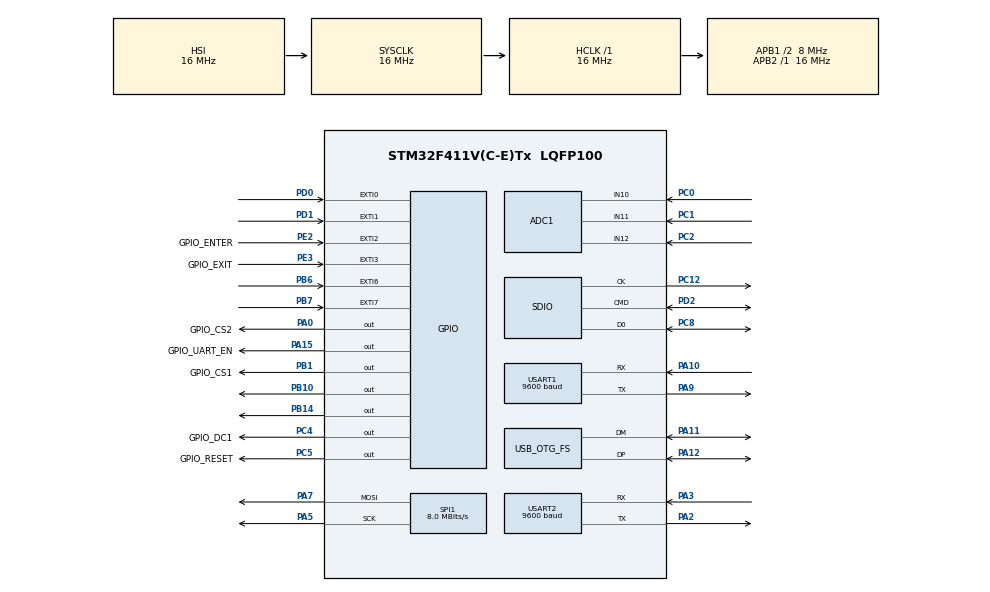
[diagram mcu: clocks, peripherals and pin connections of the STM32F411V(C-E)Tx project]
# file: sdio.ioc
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ADC1.Channel-1\#ChannelRegularConversion=ADC_CHANNEL_10
ADC1.Channel-2\#ChannelRegularConversion=ADC_CHANNEL_11
ADC1.Channel-3\#ChannelRegularConversion=ADC_CHANNEL_12
ADC1.DMAContinuousRequests=ENABLE
ADC1.ExternalTrigConv=ADC_EXTERNALTRIGCONV_T3_TRGO
ADC1.ExternalTrigConvEdge=ADC_EXTERNALTRIGCONVEDGE_FALLING
ADC1.NbrOfConversion=3
ADC1.NbrOfConversionFlag=1
ADC1.Rank-1\#ChannelRegularConversion=1
ADC1.Rank-2\#ChannelRegularConversion=2
ADC1.Rank-3\#ChannelRegularConversion=3
ADC1.SamplingTime-1\#ChannelRegularConversion=ADC_SAMPLETIME_15CYCLES
ADC1.SamplingTime-2\#ChannelRegularConversion=ADC_SAMPLETIME_15CYCLES
ADC1.SamplingTime-3\#ChannelRegularConversion=ADC_SAMPLETIME_15CYCLES
ADC1.ScanConvMode=ENABLE
ADC1.master=1
Dma.ADC1.0.Direction=DMA_PERIPH_TO_MEMORY
Dma.ADC1.0.FIFOMode=DMA_FIFOMODE_DISABLE
Dma.ADC1.0.Instance=DMA2_Stream0
Dma.ADC1.0.MemDataAlignment=DMA_MDATAALIGN_HALFWORD
Dma.ADC1.0.MemInc=DMA_MINC_ENABLE
Dma.ADC1.0.Mode=DMA_CIRCULAR
Dma.ADC1.0.PeriphDataAlignment=DMA_PDATAALIGN_HALFWORD
Dma.ADC1.0.PeriphInc=DMA_PINC_DISABLE
Dma.ADC1.0.Priority=DMA_PRIORITY_LOW
Dma.Request0=ADC1
Dma.Request1=USART2_RX
Dma.Request2=SPI1_TX
Dma.SPI1_TX.2.Direction=DMA_MEMORY_TO_PERIPH
Dma.SPI1_TX.2.FIFOMode=DMA_FIFOMODE_DISABLE
Dma.SPI1_TX.2.Instance=DMA2_Stream2
Dma.SPI1_TX.2.MemDataAlignment=DMA_MDATAALIGN_BYTE
Dma.SPI1_TX.2.MemInc=DMA_MINC_ENABLE
Dma.SPI1_TX.2.Mode=DMA_NORMAL
Dma.SPI1_TX.2.PeriphDataAlignment=DMA_PDATAALIGN_BYTE
Dma.SPI1_TX.2.PeriphInc=DMA_PINC_DISABLE
Dma.SPI1_TX.2.Priority=DMA_PRIORITY_LOW
Dma.USART2_RX.1.Direction=DMA_PERIPH_TO_MEMORY
Dma.USART2_RX.1.FIFOMode=DMA_FIFOMODE_DISABLE
Dma.USART2_RX.1.Instance=DMA1_Stream5
Dma.USART2_RX.1.MemDataAlignment=DMA_MDATAALIGN_BYTE
Dma.USART2_RX.1.MemInc=DMA_MINC_ENABLE
Dma.USART2_RX.1.Mode=DMA_NORMAL
Dma.USART2_RX.1.PeriphDataAlignment=DMA_PDATAALIGN_BYTE
Dma.USART2_RX.1.PeriphInc=DMA_PINC_DISABLE
Dma.USART2_RX.1.Priority=DMA_PRIORITY_LOW
FATFS._MAX_SS=4096
Mcu.Family=STM32F4
Mcu.Name=STM32F411V(C-E)Tx
Mcu.Package=LQFP100
NVIC.ADC_IRQn=true\:0\:0\:false\:false\:true\:true\:true\:true
NVIC.DMA1_Stream5_IRQn=true\:0\:0\:false\:false\:true\:false\:true\:true
NVIC.DMA2_Stream0_IRQn=true\:0\:0\:false\:false\:true\:false\:true\:true
NVIC.DMA2_Stream2_IRQn=true\:0\:0\:false\:false\:true\:false\:true\:true
NVIC.EXTI2_IRQn=true\:0\:0\:false\:false\:true\:true\:true\:true
NVIC.EXTI3_IRQn=true\:0\:0\:false\:false\:true\:true\:true\:true
NVIC.EXTI9_5_IRQn=true\:0\:0\:false\:false\:true\:true\:true\:true
NVIC.OTG_FS_IRQn=true\:0\:0\:false\:false\:true\:false\:true\:true
NVIC.PriorityGroup=NVIC_PRIORITYGROUP_4
NVIC.TIM1_TRG_COM_TIM11_IRQn=true\:0\:0\:false\:false\:true\:true\:true\:true
NVIC.TIM1_UP_TIM10_IRQn=true\:0\:0\:false\:false\:true\:true\:true\:true
NVIC.USART1_IRQn=true\:0\:0\:false\:false\:true\:true\:true\:true
NVIC.USART2_IRQn=true\:0\:0\:false\:false\:true\:true\:true\:true
PA0-WKUP.GPIO_Label=GPIO_CS2
PA0-WKUP.GPIO_PuPd=GPIO_PULLUP
PA0-WKUP.Signal=GPIO_Output
PA10.Mode=Asynchronous
PA10.Signal=USART1_RX
PA11.Mode=Device_Only
PA11.Signal=USB_OTG_FS_DM
PA12.Mode=Device_Only
PA12.Signal=USB_OTG_FS_DP
PA13.Mode=Serial_Wire
PA13.Signal=SYS_JTMS-SWDIO
PA14.Mode=Serial_Wire
PA14.Signal=SYS_JTCK-SWCLK
PA15.GPIO_Label=GPIO_UART_EN
PA15.Signal=GPIO_Output
PA2.Mode=Asynchronous
PA2.Signal=USART2_TX
PA3.Mode=Asynchronous
PA3.Signal=USART2_RX
PA5.Mode=TX_Only_Simplex_Unidirect_Master
PA5.Signal=SPI1_SCK
PA7.Mode=TX_Only_Simplex_Unidirect_Master
PA7.Signal=SPI1_MOSI
PA9.Mode=Asynchronous
PA9.Signal=USART1_TX
PB1.GPIO_Label=GPIO_CS1
PB1.Signal=GPIO_Output
PB10.GPIO_PuPd=GPIO_PULLUP
PB10.Signal=GPIO_Output
PB14.GPIO_PuPd=GPIO_PULLUP
PB14.Signal=GPIO_Output
PB6.GPIO_PuPd=GPIO_PULLUP
PB6.Signal=GPXTI6
PB7.GPIO_PuPd=GPIO_PULLUP
PB7.Signal=GPXTI7
PC0.Signal=ADCx_IN10
PC1.Signal=ADCx_IN11
PC12.GPIO_PuPd=GPIO_NOPULL
PC12.Mode=SD_1_bit
PC12.Signal=SDIO_CK
PC2.Signal=ADCx_IN12
PC4.GPIO_Label=GPIO_DC1
PC4.Signal=GPIO_Output
PC5.GPIO_Label=GPIO_RESET
PC5.Signal=GPIO_Output
PC8.GPIO_PuPd=GPIO_PULLUP
PC8.Mode=SD_1_bit
PC8.Signal=SDIO_D0
PD0.GPIO_ModeDefaultEXTI=GPIO_MODE_IT_RISING
PD0.Signal=GPXTI0
PD1.GPIO_ModeDefaultEXTI=GPIO_MODE_IT_RISING
PD1.Signal=GPXTI1
PD2.GPIO_PuPd=GPIO_PULLUP
PD2.Mode=SD_1_bit
PD2.Signal=SDIO_CMD
PE2.GPIO_Label=GPIO_ENTER
PE2.GPIO_ModeDefaultEXTI=GPIO_MODE_IT_FALLING
PE2.Signal=GPXTI2
PE3.GPIO_Label=GPIO_EXIT
PE3.GPIO_ModeDefaultEXTI=GPIO_MODE_IT_FALLING
PE3.Signal=GPXTI3
PH0\ -\ OSC_IN.Mode=HSE-External-Oscillator
PH0\ -\ OSC_IN.Signal=RCC_OSC_IN
PH1\ -\ OSC_OUT.Mode=HSE-External-Oscillator
PH1\ -\ OSC_OUT.Signal=RCC_OSC_OUT
ProjectManager.HeapSize=0x1000
ProjectManager.StackSize=0x1000
ProjectManager.TargetToolchain=MDK-ARM V5.32
RCC.48MHZClocksFreq_Value=48000000
RCC.AHBFreq_Value=16000000
RCC.APB1CLKDivider=RCC_HCLK_DIV2
RCC.APB1Freq_Value=8000000
RCC.APB1TimFreq_Value=16000000
RCC.APB2Freq_Value=16000000
RCC.APB2TimFreq_Value=16000000
RCC.CortexFreq_Value=16000000
RCC.HCLKFreq_Value=16000000
RCC.HSE_VALUE=8000000
RCC.HSI_VALUE=16000000
RCC.LSE_VALUE=32768
RCC.PLLM=4
RCC.PLLN=72
RCC.PLLQ=3
RCC.SYSCLKFreq_VALUE=16000000
RCC.VCOOutputFreq_Value=144000000
SDIO.ClockDiv=3
SH.ADCx_IN10.0=ADC1_IN10,IN10
SH.ADCx_IN11.0=ADC1_IN11,IN11
SH.ADCx_IN12.0=ADC1_IN12,IN12
SPI1.CalculateBaudRate=8.0 MBits/s
SPI1.Direction=SPI_DIRECTION_2LINES
SPI1.Mode=SPI_MODE_MASTER
SPI1.VirtualType=VM_MASTER
TIM10.Period=499
TIM10.Prescaler=15999
TIM11.Period=400
TIM11.Prescaler=15999
TIM3.Period=199
TIM3.Prescaler=15999
TIM3.TIM_MasterOutputTrigger=TIM_TRGO_UPDATE
USART1.BaudRate=9600
USART1.VirtualMode=VM_ASYNC
USART2.BaudRate=9600
USART2.VirtualMode=VM_ASYNC
USB_DEVICE.CLASS_NAME_FS=MSC
USB_DEVICE.VirtualMode=Msc
USB_DEVICE.VirtualModeFS=Msc_FS
USB_OTG_FS.VirtualMode=Device_Only
VP_CRC_VS_CRC.Mode=CRC_Activate
VP_FATFS_VS_SDIO.Mode=SDIO
VP_TIM10_VS_ClockSourceINT.Mode=Enable_Timer
VP_TIM11_VS_ClockSourceINT.Mode=Enable_Timer
VP_TIM3_VS_ClockSourceINT.Mode=Internal
VP_USB_DEVICE_VS_USB_DEVICE_MSC_FS.Mode=MSC_FS
board=custom

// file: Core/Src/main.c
/* USER CODE BEGIN Header */
/**
  ******************************************************************************
  * @file           : main.c
  * @brief          : Main program body
  ******************************************************************************
  * @attention
  *
  * Copyright (c) 2022 STMicroelectronics.
  * All rights reserved.
  *
  * This software is licensed under terms that can be found in the LICENSE file
  * in the root directory of this software component.
  * If no LICENSE file comes with this software, it is provided AS-IS.
  *
  ******************************************************************************
  */
/* USER CODE END Header */
#include "main.h"
#include "fatfs.h"
#include "usb_device.h"

/* USER CODE BEGIN Includes */
#include "string.h"
#include "diskio.h"
#include "new_display.h"
/* USER CODE END Includes */

/* USER CODE BEGIN PD */
#define BUFFER_SIZE 128
/* USER CODE END PD */

/* USER CODE BEGIN PM */
//extern volatile uint8_t flag_toggle;
/* USER CODE END PM */

 ADC_HandleTypeDef hadc1;
DMA_HandleTypeDef hdma_adc1;

CRC_HandleTypeDef hcrc;

SD_HandleTypeDef hsd;

SPI_HandleTypeDef hspi1;
DMA_HandleTypeDef hdma_spi1_tx;

TIM_HandleTypeDef htim3;
TIM_HandleTypeDef htim10;
TIM_HandleTypeDef htim11;

UART_HandleTypeDef huart1;
UART_HandleTypeDef huart2;
DMA_HandleTypeDef hdma_usart2_rx;

/* USER CODE BEGIN PV */
//HAL_SD_CardInfoTypeDef cardInfo;
//extern volatile uint8_t flag_press;
/* USER CODE END PV */

void SystemClock_Config(void);
static void MX_GPIO_Init(void);
static void MX_SDIO_SD_Init(void);
static void MX_DMA_Init(void);
static void MX_ADC1_Init(void);
static void MX_TIM3_Init(void);
static void MX_USART2_UART_Init(void);
static void MX_USART1_UART_Init(void);
static void MX_SPI1_Init(void);
static void MX_TIM10_Init(void);
static void MX_TIM11_Init(void);
static void MX_CRC_Init(void);
/* USER CODE BEGIN PFP */
FATFS fs;  // file system
FIL fil; // File
FILINFO fno;
FRESULT fresult;  // result
UINT br, bw;  // File read/write count
BYTE work[_MAX_SS];
/* USER CODE END PFP */

/* USER CODE BEGIN 0 */
FATFS *pfs;
DWORD fre_clust;
uint32_t capacity[2];
uint32_t gpio_pin;

volatile unsigned long  LastTime;
volatile uint16_t adc[3] = {0,};
volatile uint8_t flag_toggle = 0;
uint32_t res_addr = 0;
/* USER CODE END 0 */

int main(void)
{
  /* USER CODE BEGIN 1 */
  char buffer[128];
  /* USER CODE END 1 */

  /* MCU Configuration--------------------------------------------------------*/

  /* Reset of all peripherals, Initializes the Flash interface and the Systick. */
  HAL_Init();

  /* Configure the system clock */
  SystemClock_Config();

  /* Initialize all configured peripherals */
  MX_GPIO_Init();
  MX_SDIO_SD_Init();
  MX_DMA_Init();
  MX_USB_DEVICE_Init();
  MX_ADC1_Init();
  MX_TIM3_Init();
  MX_USART2_UART_Init();
  MX_FATFS_Init();
  MX_USART1_UART_Init();
  MX_SPI1_Init();
  MX_TIM10_Init();
  MX_TIM11_Init();
  MX_CRC_Init();
  /* USER CODE BEGIN 2 */
	ST7735_Init();
  ST7735_Backlight_On();

  HAL_GPIO_WritePin(GPIOB, GPIO_PIN_10, GPIO_PIN_RESET);
  HAL_GPIO_WritePin(GPIOB, GPIO_PIN_14, GPIO_PIN_RESET);
  HAL_GPIO_WritePin(GPIOA, GPIO_PIN_0,  GPIO_PIN_RESET);

//  fresult = f_mount(&fs, "", 1);
//	HAL_Delay(1);
//  if (fresult == FR_NO_FILESYSTEM) fresult = f_mkfs("", FM_ANY, 0, work, sizeof(work));
  /* USER CODE END 2 */

  /* Infinite loop */
  /* USER CODE BEGIN WHILE */
  while (1)
  {
		//MainMenu_Parent();
    /* USER CODE END WHILE */

  }
}

void SystemClock_Config(void)
{
  RCC_OscInitTypeDef RCC_OscInitStruct = {0};
  RCC_ClkInitTypeDef RCC_ClkInitStruct = {0};

  /** Configure the main internal regulator output voltage
  */
  __HAL_RCC_PWR_CLK_ENABLE();
  __HAL_PWR_VOLTAGESCALING_CONFIG(PWR_REGULATOR_VOLTAGE_SCALE1);

  /** Initializes the RCC Oscillators according to the specified parameters
  * in the RCC_OscInitTypeDef structure.
  */
  RCC_OscInitStruct.OscillatorType = RCC_OSCILLATORTYPE_HSI|RCC_OSCILLATORTYPE_HSE;
  RCC_OscInitStruct.HSEState = RCC_HSE_ON;
  RCC_OscInitStruct.HSIState = RCC_HSI_ON;
  RCC_OscInitStruct.HSICalibrationValue = RCC_HSICALIBRATION_DEFAULT;
  RCC_OscInitStruct.PLL.PLLState = RCC_PLL_ON;
  RCC_OscInitStruct.PLL.PLLSource = RCC_PLLSOURCE_HSE;
  RCC_OscInitStruct.PLL.PLLM = 4;
  RCC_OscInitStruct.PLL.PLLN = 72;
  RCC_OscInitStruct.PLL.PLLP = RCC_PLLP_DIV2;
  RCC_OscInitStruct.PLL.PLLQ = 3;
  if (HAL_RCC_OscConfig(&RCC_OscInitStruct) != HAL_OK)
  {
    Error_Handler();
  }

  /** Initializes the CPU, AHB and APB buses clocks
  */
  RCC_ClkInitStruct.ClockType = RCC_CLOCKTYPE_HCLK|RCC_CLOCKTYPE_SYSCLK
                              |RCC_CLOCKTYPE_PCLK1|RCC_CLOCKTYPE_PCLK2;
  RCC_ClkInitStruct.SYSCLKSource = RCC_SYSCLKSOURCE_HSI;
  RCC_ClkInitStruct.AHBCLKDivider = RCC_SYSCLK_DIV1;
  RCC_ClkInitStruct.APB1CLKDivider = RCC_HCLK_DIV2;
  RCC_ClkInitStruct.APB2CLKDivider = RCC_HCLK_DIV1;

  if (HAL_RCC_ClockConfig(&RCC_ClkInitStruct, FLASH_LATENCY_0) != HAL_OK)
  {
    Error_Handler();
  }
}

static void MX_ADC1_Init(void)
{

  ADC_ChannelConfTypeDef sConfig = {0};

  /** Configure the global features of the ADC (Clock, Resolution, Data Alignment and number of conversion)
  */
  hadc1.Instance = ADC1;
  hadc1.Init.ClockPrescaler = ADC_CLOCK_SYNC_PCLK_DIV2;
  hadc1.Init.Resolution = ADC_RESOLUTION_12B;
  hadc1.Init.ScanConvMode = ENABLE;
  hadc1.Init.ContinuousConvMode = DISABLE;
  hadc1.Init.DiscontinuousConvMode = DISABLE;
  hadc1.Init.ExternalTrigConvEdge = ADC_EXTERNALTRIGCONVEDGE_FALLING;
  hadc1.Init.ExternalTrigConv = ADC_EXTERNALTRIGCONV_T3_TRGO;
  hadc1.Init.DataAlign = ADC_DATAALIGN_RIGHT;
  hadc1.Init.NbrOfConversion = 3;
  hadc1.Init.DMAContinuousRequests = ENABLE;
  hadc1.Init.EOCSelection = ADC_EOC_SINGLE_CONV;
  if (HAL_ADC_Init(&hadc1) != HAL_OK)
  {
    Error_Handler();
  }

  /** Configure for the selected ADC regular channel its corresponding rank in the sequencer and its sample time.
  */
  sConfig.Channel = ADC_CHANNEL_10;
  sConfig.Rank = 1;
  sConfig.SamplingTime = ADC_SAMPLETIME_15CYCLES;
  if (HAL_ADC_ConfigChannel(&hadc1, &sConfig) != HAL_OK)
  {
    Error_Handler();
  }

  /** Configure for the selected ADC regular channel its corresponding rank in the sequencer and its sample time.
  */
  sConfig.Channel = ADC_CHANNEL_11;
  sConfig.Rank = 2;
  if (HAL_ADC_ConfigChannel(&hadc1, &sConfig) != HAL_OK)
  {
    Error_Handler();
  }

  /** Configure for the selected ADC regular channel its corresponding rank in the sequencer and its sample time.
  */
  sConfig.Channel = ADC_CHANNEL_12;
  sConfig.Rank = 3;
  if (HAL_ADC_ConfigChannel(&hadc1, &sConfig) != HAL_OK)
  {
    Error_Handler();
  }

}

static void MX_CRC_Init(void)
{

  hcrc.Instance = CRC;
  if (HAL_CRC_Init(&hcrc) != HAL_OK)
  {
    Error_Handler();
  }

}

static void MX_SDIO_SD_Init(void)
{

  hsd.Instance = SDIO;
  hsd.Init.ClockEdge = SDIO_CLOCK_EDGE_RISING;
  hsd.Init.ClockBypass = SDIO_CLOCK_BYPASS_DISABLE;
  hsd.Init.ClockPowerSave = SDIO_CLOCK_POWER_SAVE_DISABLE;
  hsd.Init.BusWide = SDIO_BUS_WIDE_1B;
  hsd.Init.HardwareFlowControl = SDIO_HARDWARE_FLOW_CONTROL_DISABLE;
  hsd.Init.ClockDiv = 3;

}

static void MX_SPI1_Init(void)
{

  /* SPI1 parameter configuration*/
  hspi1.Instance = SPI1;
  hspi1.Init.Mode = SPI_MODE_MASTER;
  hspi1.Init.Direction = SPI_DIRECTION_2LINES;
  hspi1.Init.DataSize = SPI_DATASIZE_8BIT;
  hspi1.Init.CLKPolarity = SPI_POLARITY_LOW;
  hspi1.Init.CLKPhase = SPI_PHASE_1EDGE;
  hspi1.Init.NSS = SPI_NSS_SOFT;
  hspi1.Init.BaudRatePrescaler = SPI_BAUDRATEPRESCALER_2;
  hspi1.Init.FirstBit = SPI_FIRSTBIT_MSB;
  hspi1.Init.TIMode = SPI_TIMODE_DISABLE;
  hspi1.Init.CRCCalculation = SPI_CRCCALCULATION_DISABLE;
  hspi1.Init.CRCPolynomial = 10;
  if (HAL_SPI_Init(&hspi1) != HAL_OK)
  {
    Error_Handler();
  }

}

static void MX_TIM3_Init(void)
{

  TIM_ClockConfigTypeDef sClockSourceConfig = {0};
  TIM_MasterConfigTypeDef sMasterConfig = {0};

  htim3.Instance = TIM3;
  htim3.Init.Prescaler = 15999;
  htim3.Init.CounterMode = TIM_COUNTERMODE_UP;
  htim3.Init.Period = 199;
  htim3.Init.ClockDivision = TIM_CLOCKDIVISION_DIV1;
  htim3.Init.AutoReloadPreload = TIM_AUTORELOAD_PRELOAD_DISABLE;
  if (HAL_TIM_Base_Init(&htim3) != HAL_OK)
  {
    Error_Handler();
  }
  sClockSourceConfig.ClockSource = TIM_CLOCKSOURCE_INTERNAL;
  if (HAL_TIM_ConfigClockSource(&htim3, &sClockSourceConfig) != HAL_OK)
  {
    Error_Handler();
  }
  sMasterConfig.MasterOutputTrigger = TIM_TRGO_UPDATE;
  sMasterConfig.MasterSlaveMode = TIM_MASTERSLAVEMODE_DISABLE;
  if (HAL_TIMEx_MasterConfigSynchronization(&htim3, &sMasterConfig) != HAL_OK)
  {
    Error_Handler();
  }

}

static void MX_TIM10_Init(void)
{

  htim10.Instance = TIM10;
  htim10.Init.Prescaler = 15999;
  htim10.Init.CounterMode = TIM_COUNTERMODE_UP;
  htim10.Init.Period = 499;
  htim10.Init.ClockDivision = TIM_CLOCKDIVISION_DIV1;
  htim10.Init.AutoReloadPreload = TIM_AUTORELOAD_PRELOAD_DISABLE;
  if (HAL_TIM_Base_Init(&htim10) != HAL_OK)
  {
    Error_Handler();
  }

}

static void MX_TIM11_Init(void)
{

  htim11.Instance = TIM11;
  htim11.Init.Prescaler = 15999;
  htim11.Init.CounterMode = TIM_COUNTERMODE_UP;
  htim11.Init.Period = 400;
  htim11.Init.ClockDivision = TIM_CLOCKDIVISION_DIV1;
  htim11.Init.AutoReloadPreload = TIM_AUTORELOAD_PRELOAD_DISABLE;
  if (HAL_TIM_Base_Init(&htim11) != HAL_OK)
  {
    Error_Handler();
  }

}

static void MX_USART1_UART_Init(void)
{

  huart1.Instance = USART1;
  huart1.Init.BaudRate = 9600;
  huart1.Init.WordLength = UART_WORDLENGTH_8B;
  huart1.Init.StopBits = UART_STOPBITS_1;
  huart1.Init.Parity = UART_PARITY_NONE;
  huart1.Init.Mode = UART_MODE_TX_RX;
  huart1.Init.HwFlowCtl = UART_HWCONTROL_NONE;
  huart1.Init.OverSampling = UART_OVERSAMPLING_16;
  if (HAL_UART_Init(&huart1) != HAL_OK)
  {
    Error_Handler();
  }

}

static void MX_USART2_UART_Init(void)
{

  huart2.Instance = USART2;
  huart2.Init.BaudRate = 9600;
  huart2.Init.WordLength = UART_WORDLENGTH_8B;
  huart2.Init.StopBits = UART_STOPBITS_1;
  huart2.Init.Parity = UART_PARITY_NONE;
  huart2.Init.Mode = UART_MODE_TX_RX;
  huart2.Init.HwFlowCtl = UART_HWCONTROL_NONE;
  huart2.Init.OverSampling = UART_OVERSAMPLING_16;
  if (HAL_UART_Init(&huart2) != HAL_OK)
  {
    Error_Handler();
  }

}

static void MX_DMA_Init(void)
{

  /* DMA controller clock enable */
  __HAL_RCC_DMA2_CLK_ENABLE();
  __HAL_RCC_DMA1_CLK_ENABLE();

  /* DMA interrupt init */
  /* DMA1_Stream5_IRQn interrupt configuration */
  HAL_NVIC_SetPriority(DMA1_Stream5_IRQn, 0, 0);
  HAL_NVIC_EnableIRQ(DMA1_Stream5_IRQn);
  /* DMA2_Stream0_IRQn interrupt configuration */
  HAL_NVIC_SetPriority(DMA2_Stream0_IRQn, 0, 0);
  HAL_NVIC_EnableIRQ(DMA2_Stream0_IRQn);
  /* DMA2_Stream2_IRQn interrupt configuration */
  HAL_NVIC_SetPriority(DMA2_Stream2_IRQn, 0, 0);
  HAL_NVIC_EnableIRQ(DMA2_Stream2_IRQn);

}

static void MX_GPIO_Init(void)
{
  GPIO_InitTypeDef GPIO_InitStruct = {0};

  /* GPIO Ports Clock Enable */
  __HAL_RCC_GPIOE_CLK_ENABLE();
  __HAL_RCC_GPIOH_CLK_ENABLE();
  __HAL_RCC_GPIOC_CLK_ENABLE();
  __HAL_RCC_GPIOA_CLK_ENABLE();
  __HAL_RCC_GPIOB_CLK_ENABLE();
  __HAL_RCC_GPIOD_CLK_ENABLE();

  /*Configure GPIO pin Output Level */
  HAL_GPIO_WritePin(GPIOA, GPIO_CS2_Pin|GPIO_UART_EN_Pin, GPIO_PIN_RESET);

  /*Configure GPIO pin Output Level */
  HAL_GPIO_WritePin(GPIOC, GPIO_DC1_Pin|GPIO_RESET_Pin, GPIO_PIN_RESET);

  /*Configure GPIO pin Output Level */
  HAL_GPIO_WritePin(GPIOB, GPIO_CS1_Pin|GPIO_PIN_10|GPIO_PIN_14, GPIO_PIN_RESET);

  /*Configure GPIO pins : GPIO_ENTER_Pin GPIO_EXIT_Pin */
  GPIO_InitStruct.Pin = GPIO_ENTER_Pin|GPIO_EXIT_Pin;
  GPIO_InitStruct.Mode = GPIO_MODE_IT_FALLING;
  GPIO_InitStruct.Pull = GPIO_NOPULL;
  HAL_GPIO_Init(GPIOE, &GPIO_InitStruct);

  /*Configure GPIO pin : GPIO_CS2_Pin */
  GPIO_InitStruct.Pin = GPIO_CS2_Pin;
  GPIO_InitStruct.Mode = GPIO_MODE_OUTPUT_PP;
  GPIO_InitStruct.Pull = GPIO_PULLUP;
  GPIO_InitStruct.Speed = GPIO_SPEED_FREQ_LOW;
  HAL_GPIO_Init(GPIO_CS2_GPIO_Port, &GPIO_InitStruct);

  /*Configure GPIO pins : GPIO_DC1_Pin GPIO_RESET_Pin */
  GPIO_InitStruct.Pin = GPIO_DC1_Pin|GPIO_RESET_Pin;
  GPIO_InitStruct.Mode = GPIO_MODE_OUTPUT_PP;
  GPIO_InitStruct.Pull = GPIO_NOPULL;
  GPIO_InitStruct.Speed = GPIO_SPEED_FREQ_LOW;
  HAL_GPIO_Init(GPIOC, &GPIO_InitStruct);

  /*Configure GPIO pin : GPIO_CS1_Pin */
  GPIO_InitStruct.Pin = GPIO_CS1_Pin;
  GPIO_InitStruct.Mode = GPIO_MODE_OUTPUT_PP;
  GPIO_InitStruct.Pull = GPIO_NOPULL;
  GPIO_InitStruct.Speed = GPIO_SPEED_FREQ_LOW;
  HAL_GPIO_Init(GPIO_CS1_GPIO_Port, &GPIO_InitStruct);

  /*Configure GPIO pins : PB10 PB14 */
  GPIO_InitStruct.Pin = GPIO_PIN_10|GPIO_PIN_14;
  GPIO_InitStruct.Mode = GPIO_MODE_OUTPUT_PP;
  GPIO_InitStruct.Pull = GPIO_PULLUP;
  GPIO_InitStruct.Speed = GPIO_SPEED_FREQ_LOW;
  HAL_GPIO_Init(GPIOB, &GPIO_InitStruct);

  /*Configure GPIO pin : GPIO_UART_EN_Pin */
  GPIO_InitStruct.Pin = GPIO_UART_EN_Pin;
  GPIO_InitStruct.Mode = GPIO_MODE_OUTPUT_PP;
  GPIO_InitStruct.Pull = GPIO_NOPULL;
  GPIO_InitStruct.Speed = GPIO_SPEED_FREQ_LOW;
  HAL_GPIO_Init(GPIO_UART_EN_GPIO_Port, &GPIO_InitStruct);

  /*Configure GPIO pins : PD0 PD1 */
  GPIO_InitStruct.Pin = GPIO_PIN_0|GPIO_PIN_1;
  GPIO_InitStruct.Mode = GPIO_MODE_IT_RISING;
  GPIO_InitStruct.Pull = GPIO_NOPULL;
  HAL_GPIO_Init(GPIOD, &GPIO_InitStruct);

  /*Configure GPIO pins : PB6 PB7 */
  GPIO_InitStruct.Pin = GPIO_PIN_6|GPIO_PIN_7;
  GPIO_InitStruct.Mode = GPIO_MODE_IT_RISING;
  GPIO_InitStruct.Pull = GPIO_PULLUP;
  HAL_GPIO_Init(GPIOB, &GPIO_InitStruct);

  /* EXTI interrupt init*/
  HAL_NVIC_SetPriority(EXTI2_IRQn, 0, 0);
  HAL_NVIC_EnableIRQ(EXTI2_IRQn);

  HAL_NVIC_SetPriority(EXTI3_IRQn, 0, 0);
  HAL_NVIC_EnableIRQ(EXTI3_IRQn);

  HAL_NVIC_SetPriority(EXTI9_5_IRQn, 0, 0);
  HAL_NVIC_EnableIRQ(EXTI9_5_IRQn);

}

/* USER CODE BEGIN 4 */

//********************************************************************//
//*************************Callback***********************************//
//********************************************************************//
void HAL_ADC_ConvCpltCallback(ADC_HandleTypeDef* hadc)
{
    if(hadc->Instance == ADC1)
    {
			  MainMenu_ADC_CallBack();
    }
}

void HAL_TIM_PeriodElapsedCallback(TIM_HandleTypeDef *htim)
{
        if(htim->Instance == TIM10)
        {
					MainMenu_Timer10_CallBack();
					 //++flag_press;
//					if(GPIO_PIN_2&&GPIO_PIN_3==GPIO_PIN_SET){
//					HAL_TIM_Base_Stop_IT(&htim10);
//					flag_toggle=0;
//					}
//					flag_toggle +=1;
        }
				if(htim->Instance == TIM11)
        {
                HAL_TIM_Base_Stop_IT(&htim11); // останавливаем таймер
                __HAL_GPIO_EXTI_CLEAR_IT(gpio_pin);  // очищаем бит EXTI_PR (бит прерывания)
					      if(gpio_pin == GPIO_PIN_7 || gpio_pin == GPIO_PIN_6)
								{
									NVIC_ClearPendingIRQ(EXTI9_5_IRQn); // очищаем бит NVIC_ICPRx (бит очереди)
                  HAL_NVIC_EnableIRQ(EXTI9_5_IRQn);   // включаем внешнее прерывание
								}
								if(gpio_pin == GPIO_PIN_2)
								{
									NVIC_ClearPendingIRQ(EXTI2_IRQn); // очищаем бит NVIC_ICPRx (бит очереди)
                  HAL_NVIC_EnableIRQ(EXTI2_IRQn);   // включаем внешнее прерывание
								}
                if(gpio_pin == GPIO_PIN_3)
								{
									NVIC_ClearPendingIRQ(EXTI3_IRQn); // очищаем бит NVIC_ICPRx (бит очереди)
                  HAL_NVIC_EnableIRQ(EXTI3_IRQn);   // включаем внешнее прерывание
								}
        }
}

void HAL_UART_RxCpltCallback(UART_HandleTypeDef *huart)
{
          if(huart == &huart2)
          {
						      GPS_CallBack();
          }
}

void HAL_GPIO_EXTI_Callback(uint16_t GPIO_PIN)
{

  MainMenu_BattonClick_CallBack(GPIO_PIN);
}
//********************************************************************//
//********************************************************************//

/* USER CODE END 4 */

void Error_Handler(void)
{
  __disable_irq();
  while (1)
  {
  }
}
